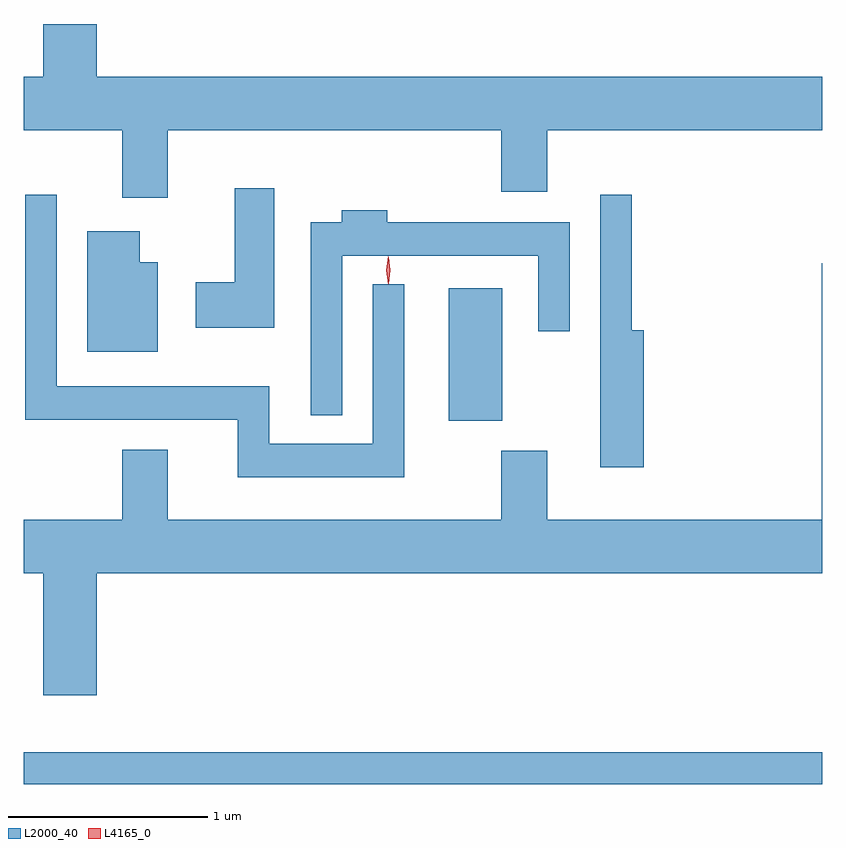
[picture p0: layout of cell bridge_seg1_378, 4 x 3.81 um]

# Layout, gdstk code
import gdstk
lib = gdstk.Library(unit=1e-6, precision=1e-09)
def R(c, l, rs):  # rectangles x0, y0, x1, y1
    for r in rs: c.add(gdstk.rectangle(r[:2], r[2:], *l))
def P(c, l, *ps):  # polygons
    for p in ps: c.add(gdstk.Polygon(p, *l))
L2000_40 = (2000, 40)
L4165_0 = (4165, 0)

bridge_seg1_378 = lib.new_cell('bridge_seg1_378')
R(bridge_seg1_378, L2000_40, [(574.618,940.701,578.618,940.859), (576.746,942.521,577.014,943.184)])
P(bridge_seg1_378, L2000_40, [(575.339,943.976),(577.011,943.976),(577.011,943.666),(577.239,943.666),(577.239,943.976),(578.618,943.976),(578.618,944.244),(574.984,944.244),(574.984,944.507),(574.716,944.507),(574.716,944.244),(574.618,944.244),(574.618,943.976),(575.111,943.976),(575.111,943.636),(575.339,943.636)],
  [(575.874,943.684),(575.676,943.684),(575.676,943.214),(575.481,943.214),(575.481,942.986),(575.874,942.986)],
  [(577.724,942.974),(577.664,942.974),(577.664,943.653),(577.506,943.653),(577.506,942.286),(577.724,942.286)],
  [(576.524,943.203),(576.366,943.203),(576.366,942.404),(575.849,942.404),(575.849,942.694),(574.784,942.694),(574.784,943.653),(574.626,943.653),(574.626,942.526),(575.691,942.526),(575.691,942.236),(576.524,942.236)],
  [(576.214,943.346),(577.196,943.346),(577.196,942.968),(577.354,942.968),(577.354,943.514),(576.439,943.514),(576.439,943.574),(576.211,943.574),(576.211,943.514),(576.056,943.514),(576.056,942.548),(576.214,942.548)],
  [(575.289,943.314),(575.199,943.314),(575.199,943.469),(574.936,943.469),(574.936,942.866),(575.289,942.866)],
  [(574.984,941.756),(578.618,941.756),(578.618,943.309),(578.616,943.309),(578.616,942.024),(577.239,942.024),(577.239,942.369),(577.011,942.369),(577.011,942.024),(575.339,942.024),(575.339,942.374),(575.111,942.374),(575.111,942.024),(574.618,942.024),(574.618,941.756),(574.716,941.756),(574.716,941.146),(574.984,941.146)])
P(bridge_seg1_378, L4165_0, [(576.444,943.204),(576.444,943.204),(576.434,943.273),(576.444,943.343),(576.444,943.343),(576.445,943.343),(576.454,943.273),(576.445,943.204)],
  [(576.445,943.207),(576.445,943.207),(576.435,943.274),(576.445,943.34),(576.445,943.341),(576.446,943.34),(576.455,943.274),(576.446,943.207)])

lib.write_gds('bridge_seg1_378.gds')
